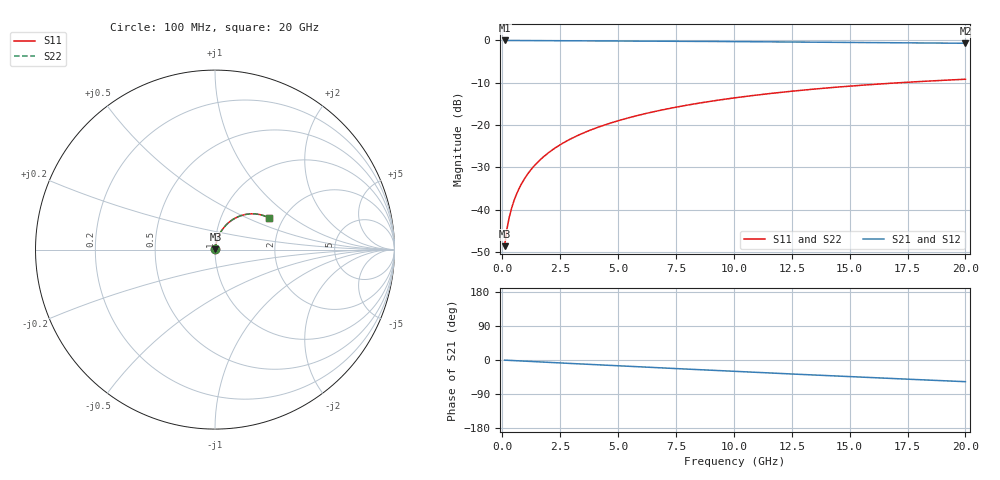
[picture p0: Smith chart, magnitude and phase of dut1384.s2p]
! Touchstone file exported from HFSS 2026.1.0
!  File:  C:/ffzhzh/LocalFiles/Ansys_Project_Files/temp_train_BSMRDL_1384_1783179624_51560.aedt
!  Generated:  11:41:43 PM Jul  4, 2026
!  Design:  BSMRDL
!  Project:  temp_train_BSMRDL_1384_1783179624_51560
! Variables:
!  h_bsmrdl = 5.67um
!  h_ox = 20um
!  h_rdl = 5um
!  h_sub = 80um
!  h_tmrdl = 5um
!  h_tsv = 80um
!  h_via = 3um
!  l_bsmrdl = 955.5um
!  l_sub = 1355.5um
!  l_tmrdl = 200um
!  m_sub = 200um
!  pitch = 46.02um
!  r_tsv = 6um
!  s_tmrdl = 10um
!  w_bsmrdl = 26.29um
!  w_sub = 500um
!  w_tmrdl = 12um
!  x_tsv_center1 = 206um
!  x_tsv_center2 = 1187.79um
!  x_tsv_center3 = 1399.79um
!  x_tsv_center4 = 2381.58um
!  x_tsv_center5 = 2593.58um
!  x_tsv_center6 = 3575.37um
# GHz S MA R 50.000000
! Terminal data exported
! Port[1] = BSM_RDL1_1_T1
! Port[2] = BSM_RDL1_1_T2
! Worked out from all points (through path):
!   200 points, 100 MHz to 20 GHz, reference 50 ohm
!   highest |S21| = -0.02 dB at 100 MHz (marker M1); lowest = -0.7 dB at 20 GHz (marker M2)
!   group delay of S21, straight-line fit = 7.94 ps
!   lowest |S11| = -48.6 dB at 100 MHz (marker M3), VSWR 1.01, Z = 50.3 + j0.273 ohm
!   |S11| at or under -10 dB: start of sweep to 17.15 GHz
!   |S22| runs from -48.6 to -9.2 dB; largest |S21 - S12| = 2e-14
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0.1  0.003721 46.8  0.9975 -0.3  0.9975 -0.3  0.003721 46.8
! Gamma 0 0 0 0
! Port Impedance 50 0 50 0
0.2  0.005923 61.2  0.9972 -0.6  0.9972 -0.6  0.005924 61.2
0.3  0.008156 67.5  0.997 -1.0  0.997 -1.0  0.008156 67.5
0.4  0.0104 71.2  0.9969 -1.3  0.9969 -1.3  0.0104 71.2
0.5  0.01267 73.7  0.9967 -1.6  0.9967 -1.6  0.01267 73.7
0.6  0.01495 75.3  0.9966 -1.9  0.9966 -1.9  0.01495 75.3
0.8  0.01957 77.3  0.9964 -2.5  0.9964 -2.5  0.01957 77.3
1.1  0.02653 78.6  0.996 -3.4  0.996 -3.4  0.02653 78.6
1.5  0.0358 78.8  0.9954 -4.7  0.9954 -4.7  0.0358 78.8
1.8  0.0427 78.5  0.9948 -5.6  0.9948 -5.6  0.0427 78.5
2.1  0.04955 78.0  0.9941 -6.5  0.9941 -6.5  0.04955 78.0
2.7  0.06305 76.7  0.9926 -8.4  0.9926 -8.4  0.06305 76.7
3.5  0.08064 74.7  0.9904 -10.8  0.9904 -10.8  0.08064 74.7
4.2  0.09567 72.9  0.9884 -12.9  0.9884 -12.9  0.09567 72.9
5  0.1125 70.8  0.9858 -15.3  0.9858 -15.3  0.1125 70.8
5.9  0.1309 68.3  0.9828 -17.9  0.9828 -17.9  0.131 68.3
6.8  0.149 65.9  0.9796 -20.6  0.9796 -20.6  0.149 65.9
8.3  0.1779 61.8  0.974 -24.9  0.974 -24.9  0.1779 61.8
10.1  0.2107 57.0  0.9666 -30.1  0.9666 -30.1  0.2108 56.9
13.4  0.2649 48.1  0.9522 -39.4  0.9522 -39.4  0.265 48.0
16.7  0.3107 39.3  0.9377 -48.5  0.9377 -48.5  0.3107 39.3
20  0.3475 30.8  0.9243 -57.2  0.9243 -57.2  0.3476 30.8
